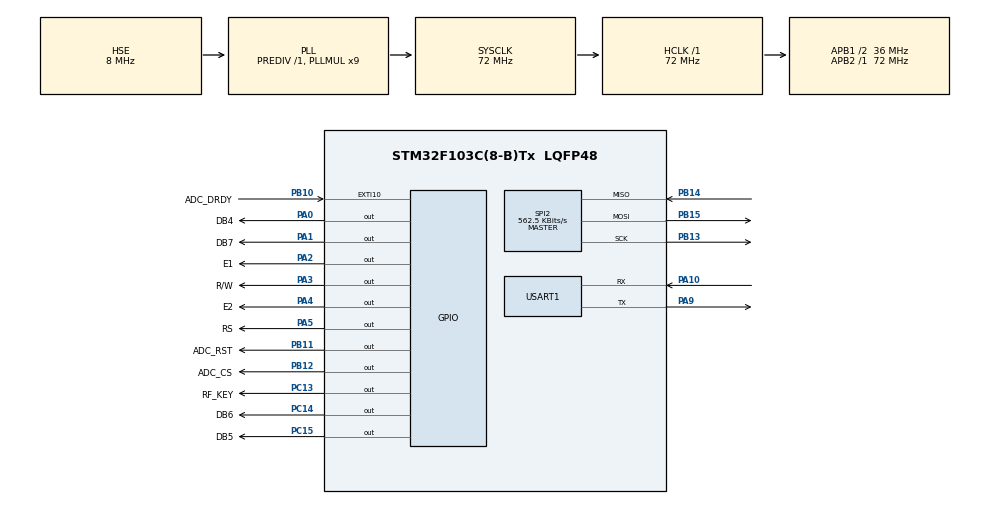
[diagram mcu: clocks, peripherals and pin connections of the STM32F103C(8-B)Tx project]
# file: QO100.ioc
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FREERTOS.Tasks01=defaultTask,0,128,StartDefaultTask,Default,NULL,Dynamic,NULL,NULL
Mcu.Family=STM32F1
Mcu.Name=STM32F103C(8-B)Tx
Mcu.Package=LQFP48
NVIC.EXTI15_10_IRQn=true\:10\:0\:true\:false\:true\:true\:true\:true\:true
NVIC.PriorityGroup=NVIC_PRIORITYGROUP_4
NVIC.SPI2_IRQn=true\:5\:0\:false\:false\:true\:true\:true\:true\:true
PA0-WKUP.GPIO_Label=DB4
PA0-WKUP.Signal=GPIO_Output
PA1.GPIO_Label=DB7
PA1.Signal=GPIO_Output
PA10.Mode=Asynchronous
PA10.Signal=USART1_RX
PA13.Mode=JTAG_5_pins
PA13.Signal=SYS_JTMS-SWDIO
PA14.Mode=JTAG_5_pins
PA14.Signal=SYS_JTCK-SWCLK
PA15.Mode=JTAG_5_pins
PA15.Signal=SYS_JTDI
PA2.GPIO_Label=E1
PA2.Signal=GPIO_Output
PA3.GPIO_Label=R/W
PA3.Signal=GPIO_Output
PA4.GPIO_Label=E2
PA4.Signal=GPIO_Output
PA5.GPIO_Label=RS
PA5.Signal=GPIO_Output
PA9.Mode=Asynchronous
PA9.Signal=USART1_TX
PB10.GPIO_Label=ADC_DRDY
PB10.GPIO_ModeDefaultEXTI=GPIO_MODE_IT_FALLING
PB10.GPIO_PuPd=GPIO_NOPULL
PB10.Signal=GPXTI10
PB11.GPIO_Label=ADC_RST
PB11.Signal=GPIO_Output
PB12.GPIO_Label=ADC_CS
PB12.Signal=GPIO_Output
PB13.Mode=Full_Duplex_Master
PB13.Signal=SPI2_SCK
PB14.Mode=Full_Duplex_Master
PB14.Signal=SPI2_MISO
PB15.Mode=Full_Duplex_Master
PB15.Signal=SPI2_MOSI
PB3.Mode=JTAG_5_pins
PB3.Signal=SYS_JTDO-TRACESWO
PB4.Mode=JTAG_5_pins
PB4.Signal=SYS_NJTRST
PC13-TAMPER-RTC.GPIO_Label=RF_KEY
PC13-TAMPER-RTC.Signal=GPIO_Output
PC14-OSC32_IN.GPIO_Label=DB6
PC14-OSC32_IN.Signal=GPIO_Output
PC15-OSC32_OUT.GPIO_Label=DB5
PC15-OSC32_OUT.Signal=GPIO_Output
PD0-OSC_IN.Mode=HSE-External-Oscillator
PD0-OSC_IN.Signal=RCC_OSC_IN
PD1-OSC_OUT.Mode=HSE-External-Oscillator
PD1-OSC_OUT.Signal=RCC_OSC_OUT
ProjectManager.HeapSize=0x200
ProjectManager.StackSize=0x400
ProjectManager.TargetToolchain=STM32CubeIDE
RCC.AHBFreq_Value=72000000
RCC.APB1CLKDivider=RCC_HCLK_DIV2
RCC.APB1Freq_Value=36000000
RCC.APB1TimFreq_Value=72000000
RCC.APB2Freq_Value=72000000
RCC.APB2TimFreq_Value=72000000
RCC.HCLKFreq_Value=72000000
RCC.PLLMUL=RCC_PLL_MUL9
RCC.PLLSourceVirtual=RCC_PLLSOURCE_HSE
RCC.SYSCLKFreq_VALUE=72000000
RCC.SYSCLKSource=RCC_SYSCLKSOURCE_PLLCLK
RCC.USBFreq_Value=72000000
SPI2.BaudRatePrescaler=SPI_BAUDRATEPRESCALER_64
SPI2.CLKPhase=SPI_PHASE_2EDGE
SPI2.CalculateBaudRate=562.5 KBits/s
SPI2.Direction=SPI_DIRECTION_2LINES
SPI2.Mode=SPI_MODE_MASTER
SPI2.VirtualType=VM_MASTER
TIM1.Prescaler=71
USART1.VirtualMode=VM_ASYNC
VP_FREERTOS_VS_CMSIS_V1.Mode=CMSIS_V1
VP_TIM1_VS_ClockSourceINT.Mode=Internal
board=custom

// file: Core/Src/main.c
/* USER CODE BEGIN Header */
/**
  ******************************************************************************
  * @file           : main.c
  * @brief          : Main program body
  ******************************************************************************
  * @attention
  *
  * Copyright (c) 2023 STMicroelectronics.
  * All rights reserved.
  *
  * This software is licensed under terms that can be found in the LICENSE file
  * in the root directory of this software component.
  * If no LICENSE file comes with this software, it is provided AS-IS.
  *
  ******************************************************************************
  */
/* USER CODE END Header */
#include "main.h"
#include "cmsis_os.h"
#include "spi.h"
#include "tim.h"
#include "usart.h"
#include "gpio.h"

/* USER CODE BEGIN Includes */
#include "LCD.h"
#include "ads1256_defs.h"           // Псевдонимы Управляющих Регистров и Команд микросхемы ADS1256
#include "ads1256.h"                // Подключаем поддержку АЦП
#include "adc_stat.h"               // Математическая постобработка результатов АЦП
#include <stdio.h>
/* USER CODE END Includes */

void SystemClock_Config(void);
void MX_FREERTOS_Init(void);

int main(void)
{

  /* MCU Configuration--------------------------------------------------------*/

  /* Reset of all peripherals, Initializes the Flash interface and the Systick. */
  HAL_Init();

  /* Configure the system clock */
  SystemClock_Config();

  /* Initialize all configured peripherals */
  MX_GPIO_Init();
  MX_SPI2_Init();
  MX_USART1_UART_Init();
  MX_TIM1_Init();
  /* USER CODE BEGIN 2 */
  HAL_TIM_Base_Start(&htim1);

  HAL_GPIO_WritePin (GPIOB, GPIO_PIN_11, GPIO_PIN_SET);

  LCD_Init();
  LCD_Puts_High(0,0,"LCD_Puts_High");
  LCD_Puts_Low(5,0,"LCD_Puts_Low");

  ADS1256_Init();

  //ADS1256_API_SetDataRegistrator( ADC_AVG_IncludeSample );

  //ADC_AVG_ResetArray();

  //ADC_CNV_RecalculateOffsetCoefficient(0);
  //ADC_CNV_RecalculateFullscaleCoefficient(8347000, 5000);

  int32_t value = ADS1256_API_ConvertDataOnce();

  value = ADS1256_API_ReadLastData();

  //ADC_AVG_IncludeSample(value);

  //int32_t average = ADC_AVG_GetMovingAverage();

  printf("value = %ld\r\n",value);  //мгновенное значение, в реальных единицах
  //printf( ADC_CNV_ConvertCode2Real( average ));  //усреднённое значение, в реальных единицах

  /* USER CODE END 2 */

  /* Call init function for freertos objects (in freertos.c) */
  //MX_FREERTOS_Init();

  /* Start scheduler */
  //osKernelStart();

  /* We should never get here as control is now taken by the scheduler */
  /* Infinite loop */
  while (1)
  {

    /* USER CODE BEGIN 3 */
	  HAL_Delay(100);
	  value = ADS1256_API_ConvertDataOnce();

	  value = ADS1256_API_ReadLastData();

	  //ADC_AVG_IncludeSample(value);

	  //int32_t average = ADC_AVG_GetMovingAverage();

	  printf("value = %ld\r\n",value);  //мгновенное значение, в реальных единицах
	  HAL_Delay(100);

  }
  /* USER CODE END 3 */
}

void SystemClock_Config(void)
{
  RCC_OscInitTypeDef RCC_OscInitStruct = {0};
  RCC_ClkInitTypeDef RCC_ClkInitStruct = {0};

  /** Initializes the RCC Oscillators according to the specified parameters
  * in the RCC_OscInitTypeDef structure.
  */
  RCC_OscInitStruct.OscillatorType = RCC_OSCILLATORTYPE_HSE;
  RCC_OscInitStruct.HSEState = RCC_HSE_ON;
  RCC_OscInitStruct.HSEPredivValue = RCC_HSE_PREDIV_DIV1;
  RCC_OscInitStruct.HSIState = RCC_HSI_ON;
  RCC_OscInitStruct.PLL.PLLState = RCC_PLL_ON;
  RCC_OscInitStruct.PLL.PLLSource = RCC_PLLSOURCE_HSE;
  RCC_OscInitStruct.PLL.PLLMUL = RCC_PLL_MUL9;
  if (HAL_RCC_OscConfig(&RCC_OscInitStruct) != HAL_OK)
  {
    Error_Handler();
  }

  /** Initializes the CPU, AHB and APB buses clocks
  */
  RCC_ClkInitStruct.ClockType = RCC_CLOCKTYPE_HCLK|RCC_CLOCKTYPE_SYSCLK
                              |RCC_CLOCKTYPE_PCLK1|RCC_CLOCKTYPE_PCLK2;
  RCC_ClkInitStruct.SYSCLKSource = RCC_SYSCLKSOURCE_PLLCLK;
  RCC_ClkInitStruct.AHBCLKDivider = RCC_SYSCLK_DIV1;
  RCC_ClkInitStruct.APB1CLKDivider = RCC_HCLK_DIV2;
  RCC_ClkInitStruct.APB2CLKDivider = RCC_HCLK_DIV1;

  if (HAL_RCC_ClockConfig(&RCC_ClkInitStruct, FLASH_LATENCY_2) != HAL_OK)
  {
    Error_Handler();
  }
}

void Error_Handler(void)
{
  __disable_irq();
  while (1)
  {
  }
}

/*# 7- Retarget printf to UART (std library and toolchain dependent) #########*/

#if defined(__GNUC__)
int _write(int fd, char * ptr, int len)
{
  HAL_UART_Transmit(&huart1, (uint8_t *) ptr, len, HAL_MAX_DELAY);
  return len;
}
#elif defined (__ICCARM__)
#include "LowLevelIOInterface.h"
size_t __write(int handle, const unsigned char * buffer, size_t size)
{
  HAL_UART_Transmit(&huart1, (uint8_t *) buffer, size, HAL_MAX_DELAY);
  return size;
}
#elif defined (__CC_ARM)
int fputc(int ch, FILE *f)
{
    HAL_UART_Transmit(&huart1, (uint8_t *)&ch, 1, HAL_MAX_DELAY);
    return ch;
}
#endif

// OR:

// Add syscalls.c with GCC

#ifdef __GNUC__
#define PUTCHAR_PROTOTYPE int __io_putchar(int ch)
#else
#define PUTCHAR_PROTOTYPE int fputc(int ch, FILE *f)
#endif /* __GNUC__ */

/**
  * @brief  Retargets the C library printf function to the USART.
  * @param  None
  * @retval None
  */
PUTCHAR_PROTOTYPE
{
  HAL_UART_Transmit(&huart1, (uint8_t *)&ch, 1, HAL_MAX_DELAY);
  return ch;
}
